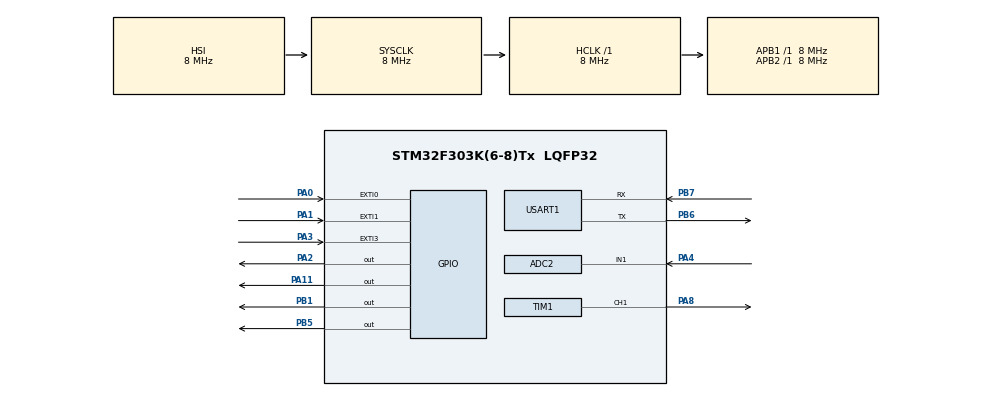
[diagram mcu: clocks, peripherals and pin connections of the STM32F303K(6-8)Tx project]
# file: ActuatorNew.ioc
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ADC2.Channel-0\#ChannelRegularConversion=ADC_CHANNEL_1
ADC2.NbrOfConversionFlag=1
ADC2.Offset-0\#ChannelRegularConversion=0
ADC2.OffsetNumber-0\#ChannelRegularConversion=ADC_OFFSET_NONE
ADC2.Rank-0\#ChannelRegularConversion=1
ADC2.SamplingTime-0\#ChannelRegularConversion=ADC_SAMPLETIME_1CYCLE_5
Dma.Request0=USART1_RX
Dma.USART1_RX.0.Direction=DMA_PERIPH_TO_MEMORY
Dma.USART1_RX.0.Instance=DMA1_Channel5
Dma.USART1_RX.0.MemDataAlignment=DMA_MDATAALIGN_BYTE
Dma.USART1_RX.0.MemInc=DMA_MINC_ENABLE
Dma.USART1_RX.0.Mode=DMA_NORMAL
Dma.USART1_RX.0.PeriphDataAlignment=DMA_PDATAALIGN_BYTE
Dma.USART1_RX.0.PeriphInc=DMA_PINC_DISABLE
Dma.USART1_RX.0.Priority=DMA_PRIORITY_LOW
Mcu.Family=STM32F3
Mcu.Name=STM32F303K(6-8)Tx
Mcu.Package=LQFP32
NVIC.DMA1_Channel5_IRQn=true\:0\:0\:false\:false\:true\:false\:true\:true
NVIC.EXTI0_IRQn=true\:0\:0\:false\:false\:true\:true\:true\:true
NVIC.EXTI1_IRQn=true\:0\:0\:false\:false\:true\:true\:true\:true
NVIC.EXTI3_IRQn=true\:0\:0\:false\:false\:true\:true\:true\:true
NVIC.PriorityGroup=NVIC_PRIORITYGROUP_4
PA0.GPIO_PuPd=GPIO_NOPULL
PA0.Signal=GPXTI0
PA1.GPIO_PuPd=GPIO_NOPULL
PA1.Signal=GPXTI1
PA11.Signal=GPIO_Output
PA13.GPIO_Label=SWDIO
PA13.Mode=Serial_Wire
PA13.Signal=SYS_JTMS-SWDIO
PA14.GPIO_Label=SWCLK
PA14.Mode=Serial_Wire
PA14.Signal=SYS_JTCK-SWCLK
PA15.GPIO_Label=VCP_RX
PA15.Signal=USART2_RX
PA2.Signal=GPIO_Output
PA3.GPIO_PuPd=GPIO_NOPULL
PA3.Signal=GPXTI3
PA4.Signal=SharedAnalog_PA4
PA8.Signal=S_TIM1_CH1
PB1.Signal=GPIO_Output
PB5.Signal=GPIO_Output
PB6.Mode=Asynchronous
PB6.Signal=USART1_TX
PB7.Mode=Asynchronous
PB7.Signal=USART1_RX
PF0\ /\ OSC_IN.GPIO_Label=MCO
PF0\ /\ OSC_IN.Mode=HSE-External-Clock-Source
PF0\ /\ OSC_IN.Signal=RCC_OSC_IN
ProjectManager.HeapSize=0x200
ProjectManager.StackSize=0x400
ProjectManager.TargetToolchain=STM32CubeIDE
RCC.AHBFreq_Value=8000000
RCC.APB1Freq_Value=8000000
RCC.APB2Freq_Value=8000000
RCC.CortexFreq_Value=8000000
RCC.HSE_VALUE=8000000
RCC.HSI_VALUE=8000000
RCC.PLLMUL=RCC_PLL_MUL4
RCC.SYSCLKFreq_VALUE=8000000
SH.S_TIM1_CH1.0=TIM1_CH1,PWM Generation1 CH1
SH.SharedAnalog_PA4.0=GPIO_Analog
SH.SharedAnalog_PA4.1=ADC2_IN1,IN1-Single-Ended
TIM1.Channel-PWM\ Generation1\ CH1=TIM_CHANNEL_1
USART1.VirtualMode-Asynchronous=VM_ASYNC
VP_TIM1_VS_ClockSourceINT.Mode=Internal
VP_TIM2_VS_ClockSourceINT.Mode=Internal
board=NUCLEO-F303K8

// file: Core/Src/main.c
/* USER CODE BEGIN Header */
/**
  ******************************************************************************
  * @file           : main.c
  * @brief          : Main program body
  ******************************************************************************
  * @attention
  *
  * Copyright (c) 2026 STMicroelectronics.
  * All rights reserved.
  *
  * This software is licensed under terms that can be found in the LICENSE file
  * in the root directory of this software component.
  * If no LICENSE file comes with this software, it is provided AS-IS.
  *
  ******************************************************************************
  */
/* USER CODE END Header */
#include "main.h"

/* USER CODE BEGIN Includes */
#include <stdio.h>
#include <stdbool.h>
/* USER CODE END Includes */

ADC_HandleTypeDef hadc2;

TIM_HandleTypeDef htim1;
TIM_HandleTypeDef htim2;

UART_HandleTypeDef huart1;
DMA_HandleTypeDef hdma_usart1_rx;

/* USER CODE BEGIN PV */
uint32_t adc2_val = 0;
uint32_t adcF_val = 0;

#define MY_SLOT_ID 0x02
#define RX_BUFFER_SIZE 1024
char rxBuffer[RX_BUFFER_SIZE];

//dim pvs
volatile uint8_t dim1 = 50;
volatile uint8_t dim2 = 50;
volatile uint8_t dim3 = 50;
/* USER CODE END PV */

void SystemClock_Config(void);
static void MX_GPIO_Init(void);
static void MX_DMA_Init(void);
static void MX_USART1_UART_Init(void);
static void MX_ADC2_Init(void);
static void MX_TIM2_Init(void);
static void MX_TIM1_Init(void);

/* USER CODE BEGIN 0 */
void respondToLoaf()
{
    // Team Salt: Implement your loaf response logic here. Called whenever the loaf requests a packet from this slice
    // I am expecting to see a message in the format: ">VARNAME:VALUE>VARNAME2:VALUE...\n"
    // VALUE can be a string or a number, and there can be any number of variable assignments in a single packet

    HAL_GPIO_TogglePin(GPIOB, GPIO_PIN_3); // Toggle onboard LED to indicate response
    HAL_Delay(5);

    char response[128];
    snprintf(response, sizeof(response), ">dummyVariable:%.2f>dummyString:\"%s\"\n", 3.14, "Dispensing Salt!");
    HAL_UART_Transmit(&huart1, (uint8_t *)response, sizeof(response), HAL_MAX_DELAY);
}

void parseUARTBuffer(char *buffer, size_t len)
{
    char cmd[RX_BUFFER_SIZE];
    size_t cmdIndex = 0;
    bool inCommand = false;

    for (size_t i = 0; i < len; i++)
    {
        char c = buffer[i];

        if (c == 0x99 && i + 1 < len && buffer[i + 1] == MY_SLOT_ID) // If the loaf is requesting a packet from this slice
        {
            respondToLoaf();
            buffer[i] = '\0'; // Clear processed command
            buffer[i + 1] = '\0';
            i++;
        }
        else if (c == '>')
        {
            // If we were already building a command, finalize it
            if (inCommand && cmdIndex > 0)
            {
                cmd[cmdIndex] = '\0';
         //       processCommand(cmd);
                cmdIndex = 0;
            }

            // Start a new command
            inCommand = true;
            buffer[i] = '\0'; // Clear processed command
        }
        else if (c == '\n')
        {
            // End of packet — flush any active command
            if (inCommand && cmdIndex > 0)
            {
                cmd[cmdIndex] = '\0';
          //      processCommand(cmd);
            }

            // Reset state
            inCommand = false;
            cmdIndex = 0;
            buffer[i] = '\0'; // Clear processed command
        }
        else if (inCommand)
        {
            // Accumulate command characters safely
            if (cmdIndex < (RX_BUFFER_SIZE - 1))
            {
                cmd[cmdIndex++] = c;
                buffer[i] = '\0'; // Clear processed command
            }
            else
            {
                // Overflow protection: discard oversized command
                cmdIndex = 0;
                inCommand = false;
            }
        }
    }
}

void HAL_UART_RxCpltCallback(UART_HandleTypeDef *huart) {
    if (huart->Instance == USART1) {
        // Process the received data in rxBuffer
        // Restart DMA reception
        HAL_UART_Receive_DMA(&huart1, (uint8_t *)rxBuffer, RX_BUFFER_SIZE);
    }
}
/* USER CODE END 0 */

int main(void)
{

  /* MCU Configuration--------------------------------------------------------*/

  /* Reset of all peripherals, Initializes the Flash interface and the Systick. */
  HAL_Init();

  /* Configure the system clock */
  SystemClock_Config();

  /* Initialize all configured peripherals */
  MX_GPIO_Init();
  MX_DMA_Init();
  MX_USART1_UART_Init();
  MX_ADC2_Init();
  MX_TIM2_Init();
  MX_TIM1_Init();
  /* USER CODE BEGIN 2 */
  HAL_UART_Receive_DMA(&huart1, (uint8_t *)rxBuffer, RX_BUFFER_SIZE);
  HAL_TIM_PWM_Start(&htim1, TIM_CHANNEL_1);
  /* USER CODE END 2 */

  /* Infinite loop */
  /* USER CODE BEGIN WHILE */
  while (1)
  {
	  HAL_GPIO_TogglePin(GPIOB, GPIO_PIN_1);
	  	  	  HAL_Delay(1000);

	  	  HAL_ADC_Start(&hadc2);
	  	  	  if (HAL_ADC_PollForConversion(&hadc2, 100) == HAL_OK){
	  	  		 adc2_val = HAL_ADC_GetValue(&hadc2);
	  	  		 adcF_val = (adc2_val - 2000);
	  	  	  }
	  	  	  HAL_ADC_Stop(&hadc2);
	  	  	 HAL_Delay(100);

	  	  	 parseUARTBuffer(rxBuffer, RX_BUFFER_SIZE);
	  	  	 HAL_Delay(5);

	 dim1 = 20;
	 dim2 = 20;
	 dim3 = 20;

	 __HAL_TIM_SET_COMPARE(&htim1, TIM_CHANNEL_1, 50);

	 HAL_GPIO_TogglePin(GPIOB, GPIO_PIN_5);
    /* USER CODE END WHILE */

  }
}

void SystemClock_Config(void)
{
  RCC_OscInitTypeDef RCC_OscInitStruct = {0};
  RCC_ClkInitTypeDef RCC_ClkInitStruct = {0};
  RCC_PeriphCLKInitTypeDef PeriphClkInit = {0};

  /** Initializes the RCC Oscillators according to the specified parameters
  * in the RCC_OscInitTypeDef structure.
  */
  RCC_OscInitStruct.OscillatorType = RCC_OSCILLATORTYPE_HSI;
  RCC_OscInitStruct.HSIState = RCC_HSI_ON;
  RCC_OscInitStruct.HSICalibrationValue = RCC_HSICALIBRATION_DEFAULT;
  RCC_OscInitStruct.PLL.PLLState = RCC_PLL_ON;
  RCC_OscInitStruct.PLL.PLLSource = RCC_PLLSOURCE_HSI;
  RCC_OscInitStruct.PLL.PLLMUL = RCC_PLL_MUL4;
  if (HAL_RCC_OscConfig(&RCC_OscInitStruct) != HAL_OK)
  {
    Error_Handler();
  }

  /** Initializes the CPU, AHB and APB buses clocks
  */
  RCC_ClkInitStruct.ClockType = RCC_CLOCKTYPE_HCLK|RCC_CLOCKTYPE_SYSCLK
                              |RCC_CLOCKTYPE_PCLK1|RCC_CLOCKTYPE_PCLK2;
  RCC_ClkInitStruct.SYSCLKSource = RCC_SYSCLKSOURCE_HSI;
  RCC_ClkInitStruct.AHBCLKDivider = RCC_SYSCLK_DIV1;
  RCC_ClkInitStruct.APB1CLKDivider = RCC_HCLK_DIV1;
  RCC_ClkInitStruct.APB2CLKDivider = RCC_HCLK_DIV1;

  if (HAL_RCC_ClockConfig(&RCC_ClkInitStruct, FLASH_LATENCY_0) != HAL_OK)
  {
    Error_Handler();
  }
  PeriphClkInit.PeriphClockSelection = RCC_PERIPHCLK_USART1|RCC_PERIPHCLK_TIM1
                              |RCC_PERIPHCLK_ADC12;
  PeriphClkInit.Usart1ClockSelection = RCC_USART1CLKSOURCE_PCLK1;
  PeriphClkInit.Adc12ClockSelection = RCC_ADC12PLLCLK_DIV1;
  PeriphClkInit.Tim1ClockSelection = RCC_TIM1CLK_HCLK;
  if (HAL_RCCEx_PeriphCLKConfig(&PeriphClkInit) != HAL_OK)
  {
    Error_Handler();
  }
}

static void MX_ADC2_Init(void)
{

  ADC_ChannelConfTypeDef sConfig = {0};

  /** Common config
  */
  hadc2.Instance = ADC2;
  hadc2.Init.ClockPrescaler = ADC_CLOCK_ASYNC_DIV1;
  hadc2.Init.Resolution = ADC_RESOLUTION_12B;
  hadc2.Init.ScanConvMode = ADC_SCAN_DISABLE;
  hadc2.Init.ContinuousConvMode = DISABLE;
  hadc2.Init.DiscontinuousConvMode = DISABLE;
  hadc2.Init.ExternalTrigConvEdge = ADC_EXTERNALTRIGCONVEDGE_NONE;
  hadc2.Init.ExternalTrigConv = ADC_SOFTWARE_START;
  hadc2.Init.DataAlign = ADC_DATAALIGN_RIGHT;
  hadc2.Init.NbrOfConversion = 1;
  hadc2.Init.DMAContinuousRequests = DISABLE;
  hadc2.Init.EOCSelection = ADC_EOC_SINGLE_CONV;
  hadc2.Init.LowPowerAutoWait = DISABLE;
  hadc2.Init.Overrun = ADC_OVR_DATA_OVERWRITTEN;
  if (HAL_ADC_Init(&hadc2) != HAL_OK)
  {
    Error_Handler();
  }

  /** Configure Regular Channel
  */
  sConfig.Channel = ADC_CHANNEL_1;
  sConfig.Rank = ADC_REGULAR_RANK_1;
  sConfig.SingleDiff = ADC_SINGLE_ENDED;
  sConfig.SamplingTime = ADC_SAMPLETIME_1CYCLE_5;
  sConfig.OffsetNumber = ADC_OFFSET_NONE;
  sConfig.Offset = 0;
  if (HAL_ADC_ConfigChannel(&hadc2, &sConfig) != HAL_OK)
  {
    Error_Handler();
  }

}

static void MX_TIM1_Init(void)
{

  TIM_ClockConfigTypeDef sClockSourceConfig = {0};
  TIM_MasterConfigTypeDef sMasterConfig = {0};
  TIM_OC_InitTypeDef sConfigOC = {0};
  TIM_BreakDeadTimeConfigTypeDef sBreakDeadTimeConfig = {0};

  htim1.Instance = TIM1;
  htim1.Init.Prescaler = 0;
  htim1.Init.CounterMode = TIM_COUNTERMODE_UP;
  htim1.Init.Period = 65535;
  htim1.Init.ClockDivision = TIM_CLOCKDIVISION_DIV1;
  htim1.Init.RepetitionCounter = 0;
  htim1.Init.AutoReloadPreload = TIM_AUTORELOAD_PRELOAD_DISABLE;
  if (HAL_TIM_Base_Init(&htim1) != HAL_OK)
  {
    Error_Handler();
  }
  sClockSourceConfig.ClockSource = TIM_CLOCKSOURCE_INTERNAL;
  if (HAL_TIM_ConfigClockSource(&htim1, &sClockSourceConfig) != HAL_OK)
  {
    Error_Handler();
  }
  if (HAL_TIM_PWM_Init(&htim1) != HAL_OK)
  {
    Error_Handler();
  }
  sMasterConfig.MasterOutputTrigger = TIM_TRGO_RESET;
  sMasterConfig.MasterOutputTrigger2 = TIM_TRGO2_RESET;
  sMasterConfig.MasterSlaveMode = TIM_MASTERSLAVEMODE_DISABLE;
  if (HAL_TIMEx_MasterConfigSynchronization(&htim1, &sMasterConfig) != HAL_OK)
  {
    Error_Handler();
  }
  sConfigOC.OCMode = TIM_OCMODE_PWM1;
  sConfigOC.Pulse = 0;
  sConfigOC.OCPolarity = TIM_OCPOLARITY_HIGH;
  sConfigOC.OCNPolarity = TIM_OCNPOLARITY_HIGH;
  sConfigOC.OCFastMode = TIM_OCFAST_DISABLE;
  sConfigOC.OCIdleState = TIM_OCIDLESTATE_RESET;
  sConfigOC.OCNIdleState = TIM_OCNIDLESTATE_RESET;
  if (HAL_TIM_PWM_ConfigChannel(&htim1, &sConfigOC, TIM_CHANNEL_1) != HAL_OK)
  {
    Error_Handler();
  }
  sBreakDeadTimeConfig.OffStateRunMode = TIM_OSSR_DISABLE;
  sBreakDeadTimeConfig.OffStateIDLEMode = TIM_OSSI_DISABLE;
  sBreakDeadTimeConfig.LockLevel = TIM_LOCKLEVEL_OFF;
  sBreakDeadTimeConfig.DeadTime = 0;
  sBreakDeadTimeConfig.BreakState = TIM_BREAK_DISABLE;
  sBreakDeadTimeConfig.BreakPolarity = TIM_BREAKPOLARITY_HIGH;
  sBreakDeadTimeConfig.BreakFilter = 0;
  sBreakDeadTimeConfig.Break2State = TIM_BREAK2_DISABLE;
  sBreakDeadTimeConfig.Break2Polarity = TIM_BREAK2POLARITY_HIGH;
  sBreakDeadTimeConfig.Break2Filter = 0;
  sBreakDeadTimeConfig.AutomaticOutput = TIM_AUTOMATICOUTPUT_DISABLE;
  if (HAL_TIMEx_ConfigBreakDeadTime(&htim1, &sBreakDeadTimeConfig) != HAL_OK)
  {
    Error_Handler();
  }
  HAL_TIM_MspPostInit(&htim1);

}

static void MX_TIM2_Init(void)
{

  TIM_ClockConfigTypeDef sClockSourceConfig = {0};
  TIM_MasterConfigTypeDef sMasterConfig = {0};

  htim2.Instance = TIM2;
  htim2.Init.Prescaler = 0;
  htim2.Init.CounterMode = TIM_COUNTERMODE_UP;
  htim2.Init.Period = 4294967295;
  htim2.Init.ClockDivision = TIM_CLOCKDIVISION_DIV1;
  htim2.Init.AutoReloadPreload = TIM_AUTORELOAD_PRELOAD_DISABLE;
  if (HAL_TIM_Base_Init(&htim2) != HAL_OK)
  {
    Error_Handler();
  }
  sClockSourceConfig.ClockSource = TIM_CLOCKSOURCE_INTERNAL;
  if (HAL_TIM_ConfigClockSource(&htim2, &sClockSourceConfig) != HAL_OK)
  {
    Error_Handler();
  }
  sMasterConfig.MasterOutputTrigger = TIM_TRGO_RESET;
  sMasterConfig.MasterSlaveMode = TIM_MASTERSLAVEMODE_DISABLE;
  if (HAL_TIMEx_MasterConfigSynchronization(&htim2, &sMasterConfig) != HAL_OK)
  {
    Error_Handler();
  }

}

static void MX_USART1_UART_Init(void)
{

  huart1.Instance = USART1;
  huart1.Init.BaudRate = 38400;
  huart1.Init.WordLength = UART_WORDLENGTH_8B;
  huart1.Init.StopBits = UART_STOPBITS_1;
  huart1.Init.Parity = UART_PARITY_NONE;
  huart1.Init.Mode = UART_MODE_TX_RX;
  huart1.Init.HwFlowCtl = UART_HWCONTROL_NONE;
  huart1.Init.OverSampling = UART_OVERSAMPLING_16;
  huart1.Init.OneBitSampling = UART_ONE_BIT_SAMPLE_DISABLE;
  huart1.AdvancedInit.AdvFeatureInit = UART_ADVFEATURE_NO_INIT;
  if (HAL_UART_Init(&huart1) != HAL_OK)
  {
    Error_Handler();
  }

}

static void MX_DMA_Init(void)
{

  /* DMA controller clock enable */
  __HAL_RCC_DMA1_CLK_ENABLE();

  /* DMA interrupt init */
  /* DMA1_Channel5_IRQn interrupt configuration */
  HAL_NVIC_SetPriority(DMA1_Channel5_IRQn, 0, 0);
  HAL_NVIC_EnableIRQ(DMA1_Channel5_IRQn);

}

static void MX_GPIO_Init(void)
{
  GPIO_InitTypeDef GPIO_InitStruct = {0};
  /* USER CODE BEGIN MX_GPIO_Init_1 */
  //inits
  GPIO_InitStruct.Pin = GPIO_PIN_0|GPIO_PIN_1|GPIO_PIN_3;
  GPIO_InitStruct.Mode = GPIO_MODE_IT_RISING_FALLING;
  GPIO_InitStruct.Pull = GPIO_NOPULL;
  HAL_GPIO_Init(GPIOA, &GPIO_InitStruct);

  //interrupts
  HAL_NVIC_SetPriority(EXTI0_IRQn, 0, 0);
  HAL_NVIC_EnableIRQ(EXTI0_IRQn);

  HAL_NVIC_SetPriority(EXTI1_IRQn, 0, 0);
  HAL_NVIC_EnableIRQ(EXTI1_IRQn);

  HAL_NVIC_SetPriority(EXTI3_IRQn, 0, 0);
  HAL_NVIC_EnableIRQ(EXTI3_IRQn);
  /* USER CODE END MX_GPIO_Init_1 */

  /* GPIO Ports Clock Enable */
  __HAL_RCC_GPIOF_CLK_ENABLE();
  __HAL_RCC_GPIOA_CLK_ENABLE();
  __HAL_RCC_GPIOB_CLK_ENABLE();

  /*Configure GPIO pin Output Level */
  HAL_GPIO_WritePin(GPIOA, GPIO_PIN_2|GPIO_PIN_11, GPIO_PIN_RESET);

  /*Configure GPIO pin Output Level */
  HAL_GPIO_WritePin(GPIOB, GPIO_PIN_1|GPIO_PIN_5, GPIO_PIN_RESET);

  /*Configure GPIO pins : PA0 PA1 PA3 */
  GPIO_InitStruct.Pin = GPIO_PIN_0|GPIO_PIN_1|GPIO_PIN_3;
  GPIO_InitStruct.Mode = GPIO_MODE_IT_RISING;
  GPIO_InitStruct.Pull = GPIO_NOPULL;
  HAL_GPIO_Init(GPIOA, &GPIO_InitStruct);

  /*Configure GPIO pins : PA2 PA11 */
  GPIO_InitStruct.Pin = GPIO_PIN_2|GPIO_PIN_11;
  GPIO_InitStruct.Mode = GPIO_MODE_OUTPUT_PP;
  GPIO_InitStruct.Pull = GPIO_NOPULL;
  GPIO_InitStruct.Speed = GPIO_SPEED_FREQ_LOW;
  HAL_GPIO_Init(GPIOA, &GPIO_InitStruct);

  /*Configure GPIO pins : PB1 PB5 */
  GPIO_InitStruct.Pin = GPIO_PIN_1|GPIO_PIN_5;
  GPIO_InitStruct.Mode = GPIO_MODE_OUTPUT_PP;
  GPIO_InitStruct.Pull = GPIO_NOPULL;
  GPIO_InitStruct.Speed = GPIO_SPEED_FREQ_LOW;
  HAL_GPIO_Init(GPIOB, &GPIO_InitStruct);

  /*Configure GPIO pin : VCP_RX_Pin */
  GPIO_InitStruct.Pin = VCP_RX_Pin;
  GPIO_InitStruct.Mode = GPIO_MODE_AF_PP;
  GPIO_InitStruct.Pull = GPIO_NOPULL;
  GPIO_InitStruct.Speed = GPIO_SPEED_FREQ_HIGH;
  GPIO_InitStruct.Alternate = GPIO_AF7_USART2;
  HAL_GPIO_Init(VCP_RX_GPIO_Port, &GPIO_InitStruct);

  /* EXTI interrupt init*/
  HAL_NVIC_SetPriority(EXTI0_IRQn, 0, 0);
  HAL_NVIC_EnableIRQ(EXTI0_IRQn);

  HAL_NVIC_SetPriority(EXTI1_IRQn, 0, 0);
  HAL_NVIC_EnableIRQ(EXTI1_IRQn);

  HAL_NVIC_SetPriority(EXTI3_IRQn, 0, 0);
  HAL_NVIC_EnableIRQ(EXTI3_IRQn);

}

/* USER CODE BEGIN 4 */
void delay_us(volatile uint16_t us)
{
    while(us--) {
        for(volatile int i=0;i<10;i++);
    }
}

void fire_triac(GPIO_TypeDef* port, uint16_t pin)
{
    HAL_GPIO_WritePin(port, pin, GPIO_PIN_SET);
    delay_us(100);  // trigger pulse
    HAL_GPIO_WritePin(port, pin, GPIO_PIN_RESET);
}

void HAL_GPIO_EXTI_Callback(uint16_t GPIO_Pin)
{
    uint16_t delay_time;

    if (GPIO_Pin == GPIO_PIN_3) // ZC1
    {
        delay_time = (100 - dim1) * 80;
        delay_us(delay_time);
        fire_triac(GPIOA, GPIO_PIN_8);
    }
    else if (GPIO_Pin == GPIO_PIN_1) // ZC2
    {
        delay_time = (100 - dim2) * 80;
        delay_us(delay_time);
        fire_triac(GPIOA, GPIO_PIN_11);
    }
    else if (GPIO_Pin == GPIO_PIN_0) // ZC3
    {
        delay_time = (100 - dim3) * 80;
        delay_us(delay_time);
        fire_triac(GPIOB, GPIO_PIN_5);
    }
}

/* USER CODE END 4 */

void Error_Handler(void)
{
  __disable_irq();
  while (1)
  {
  }
}
